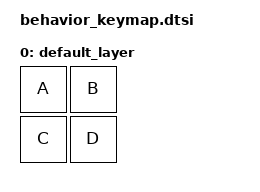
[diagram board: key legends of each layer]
/*
 * Common behavior keymap for rolling-combos tests.
 * Board: native_sim (2x2 matrix, positions 0-3)
 *
 * Position map:
 *   0(A) 1(B)
 *   2(C) 3(D)
 */

#include <dt-bindings/zmk/keys.h>
#include <behaviors.dtsi>
#include <dt-bindings/zmk/kscan_mock.h>

/ {
    keymap {
        compatible = "zmk,keymap";
        default_layer {
            bindings = <
                &kp A &kp B
                &kp C &kp D
            >;
        };
    };
};
